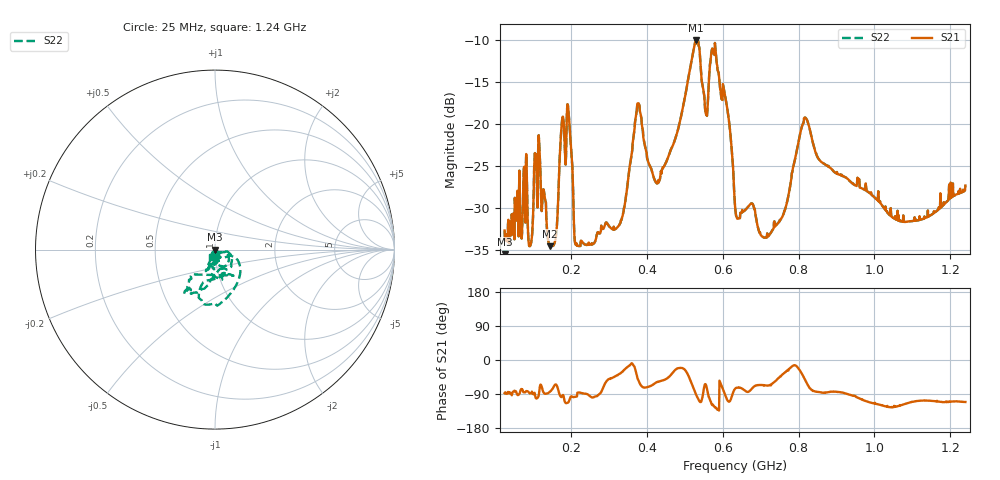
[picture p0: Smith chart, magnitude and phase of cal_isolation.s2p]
!Created with skrf (http://scikit-rf.org).
# Hz S RI R 50.0
!freq ReS11 ImS11 ReS21 ImS21 ReS12 ImS12 ReS22 ImS22
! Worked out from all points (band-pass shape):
!   1217 points, 25 MHz to 1.24 GHz, reference 50 ohm
!   highest |S21| = -10.11 dB at 528.6 MHz (marker M1); lowest = -34.5 dB at 144.9 MHz (marker M2)
!   |S21| within 3 dB of the highest: 515.6 MHz to 541.9 MHz (26.34 MHz wide, 4.98 % of centre); 566.3 MHz to 585.7 MHz (19.37 MHz wide, 3.36 % of centre)
!   lowest |S11| = - dB at 25 MHz (marker M3), VSWR 1.00, Z = 50 + j0 ohm
!   |S11| at or under -10 dB: start of sweep to end of sweep
!   |S22| runs from -34.5 to -10.1 dB; largest |S21 - S12| = 0.31
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2.5e7  0 0  0.00109 -0.0232  0 0  0.00109 -0.0232
7.896e7  0 0  0.00241 -0.0306  0 0  0.00241 -0.0306
9.294e7  0 0  0.000588 -0.0189  0 0  0.000588 -0.0189
1.1093e8  0 0  -0.00613 -0.0329  0 0  -0.00613 -0.0329
1.449e8  0 0  0.00218 -0.0186  0 0  0.00218 -0.0186
1.5989e8  0 0  0.00901 -0.019  0 0  0.00901 -0.019
1.7588e8  0 0  -0.0111 -0.1005  0 0  -0.0111 -0.1005
1.9386e8  0 0  -0.0406 -0.1081  0 0  -0.0406 -0.1081
2.1285e8  0 0  -0.00229 -0.019  0 0  -0.00229 -0.019
2.2784e8  0 0  0.00101 -0.0201  0 0  0.00101 -0.0201
3.2975e8  0 0  0.0209 -0.0148  0 0  0.0209 -0.0148
3.7671e8  0 0  0.0821 -0.1039  0 0  0.0821 -0.1039
4.3067e8  0 0  0.0243 -0.0375  0 0  0.0243 -0.0375
5.2859e8  0 0  0.0119 -0.312  0 0  0.0119 -0.312
5.5557e8  0 0  0.0485 -0.1042  0 0  0.0485 -0.1042
5.7955e8  0 0  -0.1725 -0.2474  0 0  -0.1725 -0.2474
6.3251e8  0 0  0.00786 -0.0317  0 0  0.00786 -0.0317
7.1844e8  0 0  0.00814 -0.0197  0 0  0.00814 -0.0197
8.1336e8  0 0  0.0723 -0.0707  0 0  0.0723 -0.0707
8.3534e8  0 0  0.0149 -0.0798  0 0  0.0149 -0.0798
1.03818e9  0 0  -0.0163 -0.0239  0 0  -0.0163 -0.0239
1.24001e9  0 0  -0.0153 -0.0402  0 0  -0.0153 -0.0402
